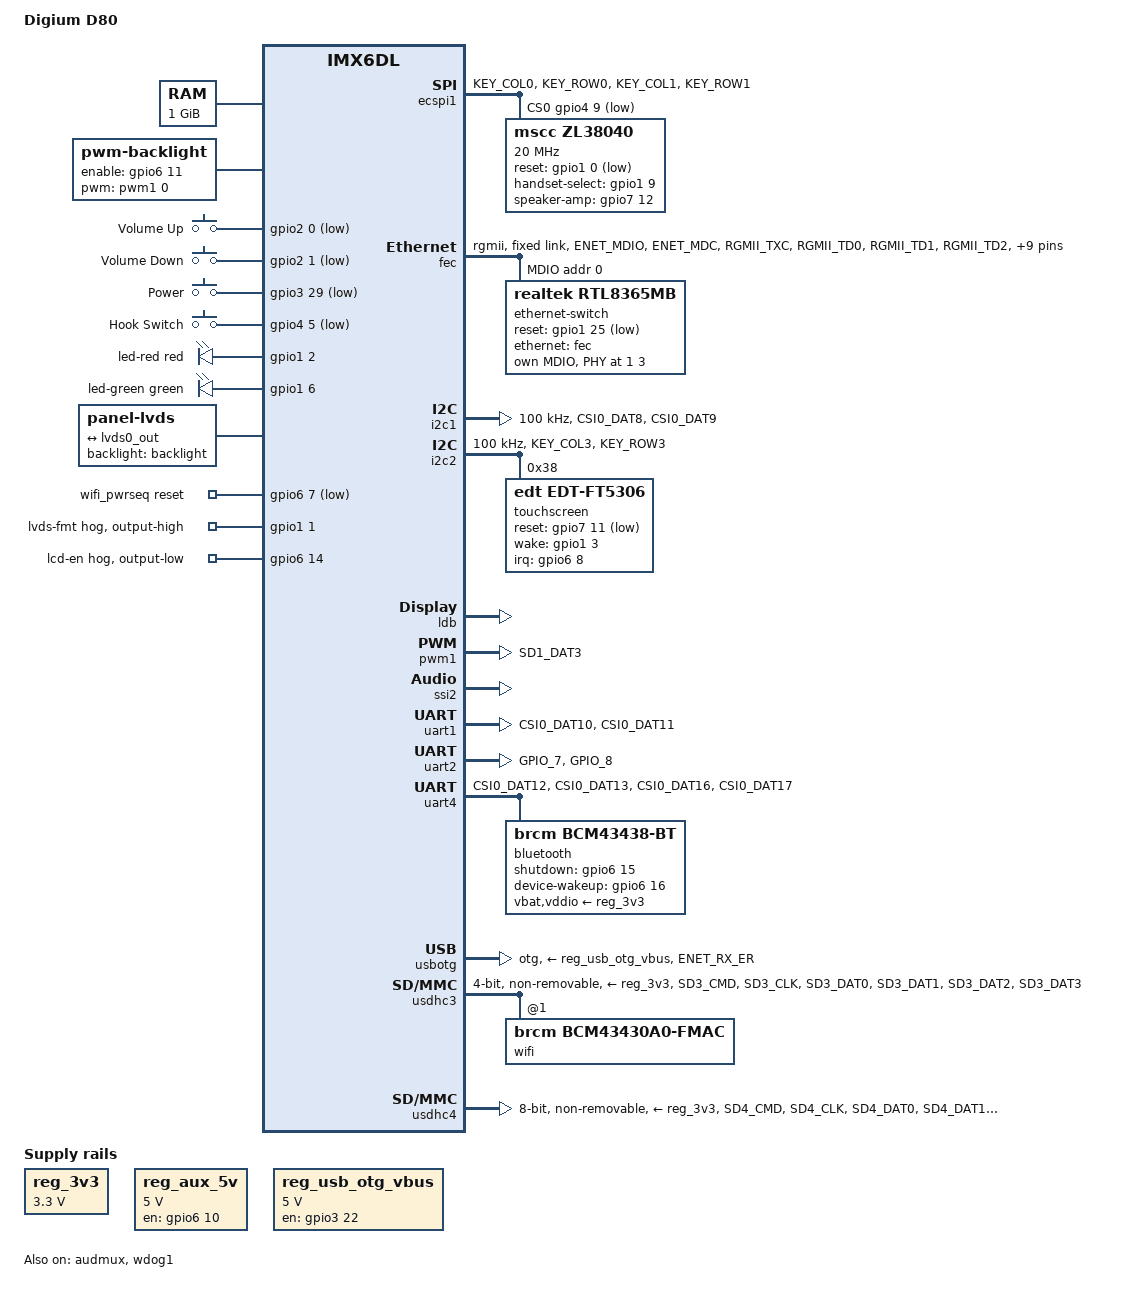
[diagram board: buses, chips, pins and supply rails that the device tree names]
// SPDX-License-Identifier: (GPL-2.0-or-later OR MIT)
/*
 * Digium D80 desk phone (stock board name "Digium Model80 Board"), with the
 * LVDS panel (hardware ID 0xc).
 *
 * NXP i.MX 6DualLite (MCIMX6U5DVM10AC), 1 GiB DDR3, 8 GB eMMC, AP6212
 * Wi-Fi/Bluetooth, RTL8363NB Ethernet switch, ZL38040 voice DSP, 800x1280
 * LVDS panel with a FocalTech touch controller.
 *
 * Pad settings follow the stock 3.0.35 kernel's pad table.  Where the stock
 * kernel left a pad's electrical configuration alone (NO_PAD_CTRL), this file
 * uses 0x80000000 so that the pad configuration is likewise left untouched.
 */

/dts-v1/;

#include <dt-bindings/gpio/gpio.h>
#include <dt-bindings/input/input.h>
#include <dt-bindings/interrupt-controller/irq.h>
#include <dt-bindings/leds/common.h>
#include <dt-bindings/sound/fsl-imx-audmux.h>
#include "imx6dl.dtsi"

/ {
	model = "Digium D80";
	compatible = "digium,d80", "fsl,imx6dl";

	aliases {
		/* Match the stock numbering: mmcblk0 is the eMMC. */
		mmc0 = &usdhc4;
		mmc1 = &usdhc3;
		/delete-property/ mmc2;
		/delete-property/ mmc3;
	};

	chosen {
		stdout-path = "serial0:115200n8";
	};

	memory@10000000 {
		device_type = "memory";
		reg = <0x10000000 0x40000000>;
	};

	reserved-memory {
		#address-cells = <1>;
		#size-cells = <1>;
		ranges;

		/* Same 1 MiB region the stock kernel used for ram_console. */
		ramoops@3ff00000 {
			compatible = "ramoops";
			reg = <0x3ff00000 0x100000>;
			record-size = <0x20000>;
			console-size = <0x40000>;
			ftrace-size = <0>;
			pmsg-size = <0x20000>;
		};
	};

	/*
	 * Stock pwm-backlight platform data: PWM1, 50000 ns period, linear
	 * brightness 0..248, default 128.  The stock notify hook sets GPIO6_11
	 * to (brightness > 0), which is what pwm-backlight does with
	 * enable-gpios.
	 */
	backlight: backlight {
		compatible = "pwm-backlight";
		pinctrl-names = "default";
		pinctrl-0 = <&pinctrl_backlight>;
		pwms = <&pwm1 0 50000 0>;
		brightness-levels = <0 248>;
		num-interpolated-steps = <248>;
		default-brightness-level = <128>;
		enable-gpios = <&gpio6 11 GPIO_ACTIVE_HIGH>;
	};

	gpio-keys {
		compatible = "gpio-keys";
		pinctrl-names = "default";
		pinctrl-0 = <&pinctrl_gpio_keys>;

		key-volume-up {
			label = "Volume Up";
			gpios = <&gpio2 0 GPIO_ACTIVE_LOW>;
			linux,code = <KEY_VOLUMEUP>;
		};

		key-volume-down {
			label = "Volume Down";
			gpios = <&gpio2 1 GPIO_ACTIVE_LOW>;
			linux,code = <KEY_VOLUMEDOWN>;
		};

		key-power {
			label = "Power";
			gpios = <&gpio3 29 GPIO_ACTIVE_LOW>;
			linux,code = <KEY_POWER>;
			wakeup-source;
		};

		/*
		 * The stock kernel reports the hook switch as EV_SW code 13,
		 * which is SW_LINEIN_INSERT in today's numbering.  Whether
		 * "active" (low) means on-hook or off-hook has not been
		 * determined.
		 */
		switch-hook {
			label = "Hook Switch";
			gpios = <&gpio4 5 GPIO_ACTIVE_LOW>;
			linux,input-type = <EV_SW>;
			linux,code = <SW_LINEIN_INSERT>;
		};
	};

	leds {
		compatible = "gpio-leds";
		pinctrl-names = "default";
		pinctrl-0 = <&pinctrl_leds>;

		led-red {
			function = LED_FUNCTION_STATUS;
			color = <LED_COLOR_ID_RED>;
			gpios = <&gpio1 2 GPIO_ACTIVE_HIGH>;
			default-state = "off";
			retain-state-suspended;
		};

		led-green {
			function = LED_FUNCTION_STATUS;
			color = <LED_COLOR_ID_GREEN>;
			gpios = <&gpio1 6 GPIO_ACTIVE_HIGH>;
			default-state = "on";
			retain-state-suspended;
		};
	};

	/*
	 * The panel's part number is unknown, so there is no specific
	 * compatible (the binding wants one in front of "panel-lvds").  The
	 * timing is the stock "LDB-XGA" entry, which despite its name is
	 * 800x1280.
	 */
	panel {
		compatible = "panel-lvds";
		pinctrl-names = "default";
		pinctrl-0 = <&pinctrl_panel>;
		backlight = <&backlight>;
		/* Assumed: 7 inch diagonal at 800x1280; not measured. */
		width-mm = <94>;
		height-mm = <151>;
		/* Stock LDB control: 24 bit, SPWG mapping. */
		data-mapping = "vesa-24";
		/*
		 * The panel is mounted upside down: the first scan line is at
		 * the bottom as the phone is viewed.
		 */
		rotation = <180>;

		panel-timing {
			/*
			 * Stock pixclock is 16666 ps (60.0 MHz nominal).  With
			 * the PLL2 PFD0 parent the achievable rate is
			 * 528 MHz * 18 / 23 / 7 = 59.03 MHz, about 49.2 Hz,
			 * which is also what the stock kernel produces.
			 */
			clock-frequency = <60000000>;
			hactive = <800>;
			hfront-porch = <72>;
			hback-porch = <24>;
			hsync-len = <24>;
			vactive = <1280>;
			vfront-porch = <12>;
			vback-porch = <10>;
			vsync-len = <2>;
			hsync-active = <0>;
			vsync-active = <0>;
			de-active = <1>;
		};

		port {
			panel_in: endpoint {
				remote-endpoint = <&lvds0_out>;
			};
		};
	};

	/* GEN_3V3: discrete regulator, not software controlled. */
	reg_3v3: regulator-3v3 {
		compatible = "regulator-fixed";
		regulator-name = "GEN_3V3";
		regulator-min-microvolt = <3300000>;
		regulator-max-microvolt = <3300000>;
		regulator-always-on;
	};

	/*
	 * Auxiliary 5 V rail.  The stock kernel drives the enable high at boot
	 * and never touches it again; its consumers are unknown, so keep it on.
	 */
	reg_aux_5v: regulator-aux-5v {
		compatible = "regulator-fixed";
		pinctrl-names = "default";
		pinctrl-0 = <&pinctrl_reg_aux_5v>;
		regulator-name = "aux_5v";
		regulator-min-microvolt = <5000000>;
		regulator-max-microvolt = <5000000>;
		gpio = <&gpio6 10 GPIO_ACTIVE_HIGH>;
		enable-active-high;
		regulator-boot-on;
		regulator-always-on;
	};

	reg_usb_otg_vbus: regulator-usb-otg-vbus {
		compatible = "regulator-fixed";
		pinctrl-names = "default";
		pinctrl-0 = <&pinctrl_reg_usb_otg_vbus>;
		regulator-name = "usb_otg_vbus";
		regulator-min-microvolt = <5000000>;
		regulator-max-microvolt = <5000000>;
		gpio = <&gpio3 22 GPIO_ACTIVE_HIGH>;
		enable-active-high;
	};

	/*
	 * As in the stock machine driver (imx_board_hw_params): I2S, normal
	 * clock polarity, with the SSI providing both clocks to the DSP.
	 */
	sound {
		compatible = "simple-audio-card";
		simple-audio-card,name = "Digium D80";
		simple-audio-card,format = "i2s";
		simple-audio-card,bitclock-master = <&sound_cpu>;
		simple-audio-card,frame-master = <&sound_cpu>;

		sound_cpu: simple-audio-card,cpu {
			sound-dai = <&ssi2>;
		};

		simple-audio-card,codec {
			sound-dai = <&zl38040>;
		};
	};

	/* AP6212 WL_REG_ON, plus the 32 kHz low-power clock from the SoC. */
	wifi_pwrseq: wifi-pwrseq {
		compatible = "mmc-pwrseq-simple";
		pinctrl-names = "default";
		pinctrl-0 = <&pinctrl_wifi_pwrseq>;
		reset-gpios = <&gpio6 7 GPIO_ACTIVE_LOW>;
		clocks = <&clks IMX6QDL_CLK_CKIL>;
		clock-names = "ext_clock";
	};
};

/*
 * Stock imx_zl38040_probe(): SSI2 is internal port 2 and the DSP is on
 * external port 3 (0-based 1 and 2 here).  Port 3 drives its frame sync and
 * bit clock pins from port 2; both ports are synchronous (4-wire).
 */
&audmux {
	pinctrl-names = "default";
	pinctrl-0 = <&pinctrl_audmux>;
	status = "okay";

	mux-ssi2 {
		fsl,audmux-port = <1>;
		fsl,port-config = <
			IMX_AUDMUX_V2_PTCR_SYN
			IMX_AUDMUX_V2_PDCR_RXDSEL(2)
		>;
	};

	mux-aud3 {
		fsl,audmux-port = <2>;
		fsl,port-config = <
			(IMX_AUDMUX_V2_PTCR_TFSDIR |
			IMX_AUDMUX_V2_PTCR_TFSEL(1) |
			IMX_AUDMUX_V2_PTCR_TCLKDIR |
			IMX_AUDMUX_V2_PTCR_TCSEL(1) |
			IMX_AUDMUX_V2_PTCR_SYN)
			IMX_AUDMUX_V2_PDCR_RXDSEL(1)
		>;
	};
};

/*
 * The stock kernel parents ldb_di0_clk to pll2_pfd_352M.  The clock driver
 * only honors an LDB mux selection made here, at clock init.
 */
&clks {
	assigned-clocks = <&clks IMX6QDL_CLK_LDB_DI0_SEL>;
	assigned-clock-parents = <&clks IMX6QDL_CLK_PLL2_PFD0_352M>;
};

/* ZL38040 voice DSP control port */
&ecspi1 {
	pinctrl-names = "default";
	pinctrl-0 = <&pinctrl_ecspi1>;
	cs-gpios = <&gpio4 9 GPIO_ACTIVE_LOW>;
	status = "okay";

	zl38040: audio-codec@0 {
		compatible = "mscc,zl38040";
		reg = <0>;
		pinctrl-names = "default";
		pinctrl-0 = <&pinctrl_zl38040>;
		#sound-dai-cells = <0>;
		/* Stock zl38040_spi_probe(): 20 MHz, SPI mode 3. */
		spi-max-frequency = <20000000>;
		spi-cpol;
		spi-cpha;
		reset-gpios = <&gpio1 0 GPIO_ACTIVE_LOW>;
		handset-select-gpios = <&gpio1 9 GPIO_ACTIVE_HIGH>;
		speaker-amp-gpios = <&gpio7 12 GPIO_ACTIVE_HIGH>;
	};
};

/*
 * FEC (RGMII, MDC/MDIO) <-> switch extension interface 1 (driver port 6;
 *                           the vendor API calls it EXT_PORT0 / port 16)
 * switch PHY 1 <-> J4 "LAN" jack (PoE in)
 * switch PHY 3 <-> J3 "PC" jack
 *
 * GPIO_6 is the green LED on this board, so the ENET interrupt workaround
 * (fsl,err006687-workaround-present), which takes that pad, is not used.
 */
&fec {
	pinctrl-names = "default";
	pinctrl-0 = <&pinctrl_enet>;
	/*
	 * Both RGMII clock delays are inserted by the switch (see the CPU
	 * port below); the i.MX6 MAC cannot add any.
	 */
	phy-mode = "rgmii";
	status = "okay";

	fixed-link {
		speed = <1000>;
		full-duplex;
		pause;
	};

	mdio {
		#address-cells = <1>;
		#size-cells = <0>;

		/* Realtek "MDIO as SMI" management; the switch answers at 0 */
		ethernet-switch@0 {
			compatible = "realtek,rtl8365mb";
			reg = <0>;
			pinctrl-names = "default";
			pinctrl-0 = <&pinctrl_enet_switch>;
			reset-gpios = <&gpio1 25 GPIO_ACTIVE_LOW>;

			/*
			 * No interrupt-controller node: no switch interrupt
			 * line is known, so the PHYs are polled.
			 */

			ethernet-ports {
				#address-cells = <1>;
				#size-cells = <0>;

				ethernet-port@1 {
					reg = <1>;
					label = "lan";
					phy-handle = <&switch_phy1>;
				};

				ethernet-port@3 {
					reg = <3>;
					label = "pc";
					phy-handle = <&switch_phy3>;
				};

				ethernet-port@6 {
					reg = <6>;
					ethernet = <&fec>;
					phy-mode = "rgmii";
					/* Stock: rtk_port_rgmiiDelayExt_set(EXT0, 1, 4) */
					tx-internal-delay-ps = <2000>;
					rx-internal-delay-ps = <1200>;

					fixed-link {
						speed = <1000>;
						full-duplex;
						pause;
					};
				};
			};

			/*
			 * The driver takes the PHYs from this node on an
			 * MDIO-connected switch too, although the binding
			 * allows the node only on an SMI-connected one.
			 */
			mdio {
				compatible = "realtek,smi-mdio";
				#address-cells = <1>;
				#size-cells = <0>;

				switch_phy1: ethernet-phy@1 {
					reg = <1>;
				};

				switch_phy3: ethernet-phy@3 {
					reg = <3>;
				};
			};
		};
	};
};

/*
 * Panel control lines, as the stock kernel leaves them: "lvds-fmt" GPIO1_1
 * driven high, "lcd-en" GPIO6_14 driven low.  Left floating, the panel stays
 * black with the backlight lit.  What each level means to the panel is not
 * known, so they are plain hogs.
 */
&gpio1 {
	lvds-fmt-hog {
		gpio-hog;
		gpios = <1 GPIO_ACTIVE_HIGH>;
		output-high;
		line-name = "lvds-fmt";
	};
};

&gpio2 {
	/* HWID straps (this board reads 0xc); readable from user space. */
	gpio-line-names = "", "", "", "",
			  "hwid0", "hwid1", "hwid2", "hwid3";
};

&gpio6 {
	lcd-en-hog {
		gpio-hog;
		gpios = <14 GPIO_ACTIVE_HIGH>;
		output-low;
		line-name = "lcd-en";
	};
};

/* Muxed by the stock kernel, but no devices are registered on it. */
&i2c1 {
	clock-frequency = <100000>;
	pinctrl-names = "default";
	pinctrl-0 = <&pinctrl_i2c1>;
	status = "okay";
};

&i2c2 {
	clock-frequency = <100000>;
	pinctrl-names = "default";
	pinctrl-0 = <&pinctrl_i2c2>;
	status = "okay";

	/*
	 * Stock driver "ft5x02-touch" (ft5x0x_ts_probe): tp-int GPIO6_8
	 * (falling edge), tp-wake GPIO1_3, tp-rst GPIO7_11, 10 slots.
	 * It reports X = 800 - raw_y (0..800) and Y = raw_x (0..1280); the
	 * properties below reproduce that mapping.  The coordinates are in
	 * the panel's scan-out frame, which is rotated 180 degrees from the
	 * viewer's (see the panel's rotation).
	 */
	touchscreen@38 {
		compatible = "edt,edt-ft5306";
		reg = <0x38>;
		pinctrl-names = "default";
		pinctrl-0 = <&pinctrl_touchscreen>;
		interrupt-parent = <&gpio6>;
		interrupts = <8 IRQ_TYPE_EDGE_FALLING>;
		reset-gpios = <&gpio7 11 GPIO_ACTIVE_LOW>;
		wake-gpios = <&gpio1 3 GPIO_ACTIVE_HIGH>;
		touchscreen-size-x = <1280>;
		touchscreen-size-y = <800>;
		touchscreen-inverted-y;
		touchscreen-swapped-x-y;
		/* Stock probe writes 0x28 to register 0x80. */
		threshold = <40>;
	};
};

&iomuxc {
	pinctrl-names = "default";
	pinctrl-0 = <&pinctrl_hog>;

	pinctrl_hog: hoggrp {
		fsl,pins = <
			/* HWID straps */
			MX6QDL_PAD_NANDF_D4__GPIO2_IO04		0x80000000
			MX6QDL_PAD_NANDF_D5__GPIO2_IO05		0x80000000
			MX6QDL_PAD_NANDF_D6__GPIO2_IO06		0x80000000
			MX6QDL_PAD_NANDF_D7__GPIO2_IO07		0x80000000
		>;
	};

	pinctrl_audmux: audmuxgrp {
		fsl,pins = <
			MX6QDL_PAD_CSI0_DAT4__AUD3_TXC		0x80000000
			MX6QDL_PAD_CSI0_DAT5__AUD3_TXD		0x130b0
			MX6QDL_PAD_CSI0_DAT6__AUD3_TXFS		0x80000000
			MX6QDL_PAD_CSI0_DAT7__AUD3_RXD		0x130b0
		>;
	};

	pinctrl_backlight: backlightgrp {
		fsl,pins = <
			MX6QDL_PAD_NANDF_CS0__GPIO6_IO11	0x80000000
		>;
	};

	pinctrl_bluetooth: bluetoothgrp {
		fsl,pins = <
			MX6QDL_PAD_NANDF_CS2__GPIO6_IO15	0x80000000
			MX6QDL_PAD_NANDF_CS3__GPIO6_IO16	0x80000000
		>;
	};

	pinctrl_ecspi1: ecspi1grp {
		fsl,pins = <
			MX6QDL_PAD_KEY_COL0__ECSPI1_SCLK	0x80000000
			MX6QDL_PAD_KEY_ROW0__ECSPI1_MOSI	0x80000000
			MX6QDL_PAD_KEY_COL1__ECSPI1_MISO	0x80000000
			MX6QDL_PAD_KEY_ROW1__GPIO4_IO09		0x80000000
		>;
	};

	pinctrl_enet: enetgrp {
		fsl,pins = <
			MX6QDL_PAD_ENET_MDIO__ENET_MDIO		0x1b0b0
			MX6QDL_PAD_ENET_MDC__ENET_MDC		0x1b0b0
			/* Stock leaves the TXC pad control at its boot value */
			MX6QDL_PAD_RGMII_TXC__RGMII_TXC		0x1b0b0
			MX6QDL_PAD_RGMII_TD0__RGMII_TD0		0x1b0b0
			MX6QDL_PAD_RGMII_TD1__RGMII_TD1		0x1b0b0
			MX6QDL_PAD_RGMII_TD2__RGMII_TD2		0x1b0b0
			MX6QDL_PAD_RGMII_TD3__RGMII_TD3		0x1b0b0
			MX6QDL_PAD_RGMII_TX_CTL__RGMII_TX_CTL	0x1b0b0
			MX6QDL_PAD_ENET_REF_CLK__ENET_TX_CLK	0x0a0b1
			MX6QDL_PAD_RGMII_RXC__RGMII_RXC		0x1b0b0
			MX6QDL_PAD_RGMII_RD0__RGMII_RD0		0x1b0b0
			MX6QDL_PAD_RGMII_RD1__RGMII_RD1		0x1b0b0
			MX6QDL_PAD_RGMII_RD2__RGMII_RD2		0x1b0b0
			MX6QDL_PAD_RGMII_RD3__RGMII_RD3		0x1b0b0
			MX6QDL_PAD_RGMII_RX_CTL__RGMII_RX_CTL	0x1b0b0
		>;
	};

	pinctrl_enet_switch: enetswitchgrp {
		fsl,pins = <
			/* Switch reset ("RMII_RST"), active low */
			MX6QDL_PAD_ENET_CRS_DV__GPIO1_IO25	0x1b0b0
		>;
	};

	pinctrl_gpio_keys: gpiokeysgrp {
		fsl,pins = <
			MX6QDL_PAD_NANDF_D0__GPIO2_IO00		0x80000000
			MX6QDL_PAD_NANDF_D1__GPIO2_IO01		0x80000000
			MX6QDL_PAD_EIM_D29__GPIO3_IO29		0x80000000
			MX6QDL_PAD_GPIO_19__GPIO4_IO05		0x80000000
		>;
	};

	pinctrl_i2c1: i2c1grp {
		fsl,pins = <
			MX6QDL_PAD_CSI0_DAT8__I2C1_SDA		0x4001b8b1
			MX6QDL_PAD_CSI0_DAT9__I2C1_SCL		0x4001b8b1
		>;
	};

	pinctrl_i2c2: i2c2grp {
		fsl,pins = <
			MX6QDL_PAD_KEY_COL3__I2C2_SCL		0x4001b8b1
			MX6QDL_PAD_KEY_ROW3__I2C2_SDA		0x4001b8b1
		>;
	};

	pinctrl_leds: ledsgrp {
		fsl,pins = <
			MX6QDL_PAD_GPIO_2__GPIO1_IO02		0x80000000
			MX6QDL_PAD_GPIO_6__GPIO1_IO06		0x80000000
		>;
	};

	pinctrl_panel: panelgrp {
		fsl,pins = <
			MX6QDL_PAD_GPIO_1__GPIO1_IO01		0x80000000
			MX6QDL_PAD_NANDF_CS1__GPIO6_IO14	0x80000000
		>;
	};

	pinctrl_pwm1: pwm1grp {
		fsl,pins = <
			MX6QDL_PAD_SD1_DAT3__PWM1_OUT		0x80000000
		>;
	};

	pinctrl_reg_aux_5v: regaux5vgrp {
		fsl,pins = <
			MX6QDL_PAD_NANDF_RB0__GPIO6_IO10	0x80000000
		>;
	};

	pinctrl_reg_usb_otg_vbus: regusbotgvbusgrp {
		fsl,pins = <
			MX6QDL_PAD_EIM_D22__GPIO3_IO22		0x80000000
		>;
	};

	pinctrl_touchscreen: touchscreengrp {
		fsl,pins = <
			MX6QDL_PAD_NANDF_ALE__GPIO6_IO08	0x80000000
			MX6QDL_PAD_GPIO_3__GPIO1_IO03		0x80000000
			MX6QDL_PAD_GPIO_16__GPIO7_IO11		0x80000000
		>;
	};

	pinctrl_uart1: uart1grp {
		fsl,pins = <
			MX6QDL_PAD_CSI0_DAT10__UART1_TX_DATA	0x1b0b1
			MX6QDL_PAD_CSI0_DAT11__UART1_RX_DATA	0x1b0b1
		>;
	};

	pinctrl_uart2: uart2grp {
		fsl,pins = <
			MX6QDL_PAD_GPIO_7__UART2_TX_DATA	0x1b0b1
			MX6QDL_PAD_GPIO_8__UART2_RX_DATA	0x1b0b1
		>;
	};

	pinctrl_uart4: uart4grp {
		fsl,pins = <
			MX6QDL_PAD_CSI0_DAT12__UART4_TX_DATA	0x1b0b1
			MX6QDL_PAD_CSI0_DAT13__UART4_RX_DATA	0x1b0b1
			MX6QDL_PAD_CSI0_DAT16__UART4_RTS_B	0x1b0b1
			MX6QDL_PAD_CSI0_DAT17__UART4_CTS_B	0x1b0b1
		>;
	};

	pinctrl_usbotg: usbotggrp {
		fsl,pins = <
			MX6QDL_PAD_ENET_RX_ER__USB_OTG_ID	0x80000000
		>;
	};

	pinctrl_usdhc3: usdhc3grp {
		fsl,pins = <
			MX6QDL_PAD_SD3_CMD__SD3_CMD		0x1f071
			MX6QDL_PAD_SD3_CLK__SD3_CLK		0x1f071
			MX6QDL_PAD_SD3_DAT0__SD3_DATA0		0x1f071
			MX6QDL_PAD_SD3_DAT1__SD3_DATA1		0x1f071
			MX6QDL_PAD_SD3_DAT2__SD3_DATA2		0x1f071
			MX6QDL_PAD_SD3_DAT3__SD3_DATA3		0x1f071
		>;
	};

	pinctrl_usdhc4: usdhc4grp {
		fsl,pins = <
			MX6QDL_PAD_SD4_CMD__SD4_CMD		0x1f071
			MX6QDL_PAD_SD4_CLK__SD4_CLK		0x1f071
			MX6QDL_PAD_SD4_DAT0__SD4_DATA0		0x1f071
			MX6QDL_PAD_SD4_DAT1__SD4_DATA1		0x1f071
			MX6QDL_PAD_SD4_DAT2__SD4_DATA2		0x1f071
			MX6QDL_PAD_SD4_DAT3__SD4_DATA3		0x1f071
			MX6QDL_PAD_SD4_DAT4__SD4_DATA4		0x1f071
			MX6QDL_PAD_SD4_DAT5__SD4_DATA5		0x1f071
			MX6QDL_PAD_SD4_DAT6__SD4_DATA6		0x1f071
			MX6QDL_PAD_SD4_DAT7__SD4_DATA7		0x1f071
		>;
	};

	pinctrl_wifi_pwrseq: wifipwrseqgrp {
		fsl,pins = <
			MX6QDL_PAD_NANDF_CLE__GPIO6_IO07	0x80000000
			/* 32 kHz LPO clock to the AP6212 */
			MX6QDL_PAD_ENET_RXD0__OSC32K_32K_OUT	0x80000000
		>;
	};

	pinctrl_zl38040: zl38040grp {
		fsl,pins = <
			/* audio_reset */
			MX6QDL_PAD_GPIO_0__GPIO1_IO00		0x80000000
			/* audio_sw: 1 = handset, 0 = headset */
			MX6QDL_PAD_GPIO_9__GPIO1_IO09		0x80000000
			/* speaker-en */
			MX6QDL_PAD_GPIO_17__GPIO7_IO12		0x80000000
		>;
	};
};

/* Stock: "ldb=sin0", IPU1 DI0, single channel on LVDS0. */
&ldb {
	status = "okay";

	lvds-channel@0 {
		fsl,data-mapping = "spwg";
		fsl,data-width = <24>;
		status = "okay";

		port@4 {
			reg = <4>;

			lvds0_out: endpoint {
				remote-endpoint = <&panel_in>;
			};
		};
	};
};

&pwm1 {
	pinctrl-names = "default";
	pinctrl-0 = <&pinctrl_pwm1>;
	status = "okay";
};

/* The stock kernel powers off through SNVS (mx6_snvs_poweroff). */
&snvs_poweroff {
	status = "okay";
};

/*
 * The stock board file sets the SSI2 clock to 12.288 MHz and the machine
 * driver divides it to 64 bit clocks per frame.  The SSI driver picks its
 * own dividers, so give it a parent that 64 x 8 kHz and 64 x 16 kHz divide
 * evenly: PLL4 at 64 x 12.288 MHz.
 */
&ssi2 {
	assigned-clocks = <&clks IMX6QDL_CLK_SSI2_SEL>,
			  <&clks IMX6QDL_CLK_PLL4_AUDIO_DIV>;
	assigned-clock-parents = <&clks IMX6QDL_CLK_PLL4_AUDIO_DIV>;
	assigned-clock-rates = <0>, <786432000>;
	status = "okay";
};

/* CN1 debug console, ttymxc0 */
&uart1 {
	pinctrl-names = "default";
	pinctrl-0 = <&pinctrl_uart1>;
	status = "okay";
};

/* J508 electronic hook switch (EHS) port, ttymxc1 */
&uart2 {
	pinctrl-names = "default";
	pinctrl-0 = <&pinctrl_uart2>;
	status = "okay";
};

/* AP6212 Bluetooth HCI, ttymxc3 */
&uart4 {
	pinctrl-names = "default";
	pinctrl-0 = <&pinctrl_uart4>;
	uart-has-rtscts;
	status = "okay";

	bluetooth {
		compatible = "brcm,bcm43438-bt";
		pinctrl-names = "default";
		pinctrl-0 = <&pinctrl_bluetooth>;
		/*
		 * Stock "bt-reset": held low while Bluetooth is off, pulsed
		 * low and then driven high to power it on (AP6212 BT_RST_N).
		 */
		shutdown-gpios = <&gpio6 15 GPIO_ACTIVE_HIGH>;
		device-wakeup-gpios = <&gpio6 16 GPIO_ACTIVE_HIGH>;
		clocks = <&clks IMX6QDL_CLK_CKIL>;
		clock-names = "lpo";
		vbat-supply = <&reg_3v3>;
		vddio-supply = <&reg_3v3>;
	};
};

/* J505 internal micro-USB */
&usbotg {
	pinctrl-names = "default";
	pinctrl-0 = <&pinctrl_usbotg>;
	vbus-supply = <&reg_usb_otg_vbus>;
	dr_mode = "otg";
	disable-over-current;
	status = "okay";
};

/* AP6212 Wi-Fi (SDIO) */
&usdhc3 {
	pinctrl-names = "default";
	pinctrl-0 = <&pinctrl_usdhc3>;
	bus-width = <4>;
	vmmc-supply = <&reg_3v3>;
	mmc-pwrseq = <&wifi_pwrseq>;
	non-removable;
	no-1-8-v;
	no-mmc;
	no-sd;
	keep-power-in-suspend;
	#address-cells = <1>;
	#size-cells = <0>;
	status = "okay";

	wifi@1 {
		compatible = "brcm,bcm43430a0-fmac", "brcm,bcm4329-fmac";
		reg = <1>;
	};
};

/* SanDisk SDIN8DE2 8 GB eMMC */
&usdhc4 {
	pinctrl-names = "default";
	pinctrl-0 = <&pinctrl_usdhc4>;
	bus-width = <8>;
	vmmc-supply = <&reg_3v3>;
	non-removable;
	no-sd;
	no-sdio;
	no-1-8-v;
	status = "okay";
};

/* No WDOG_B pin is routed; the watchdog resets the SoC internally. */
&wdog1 {
	status = "okay";
};
